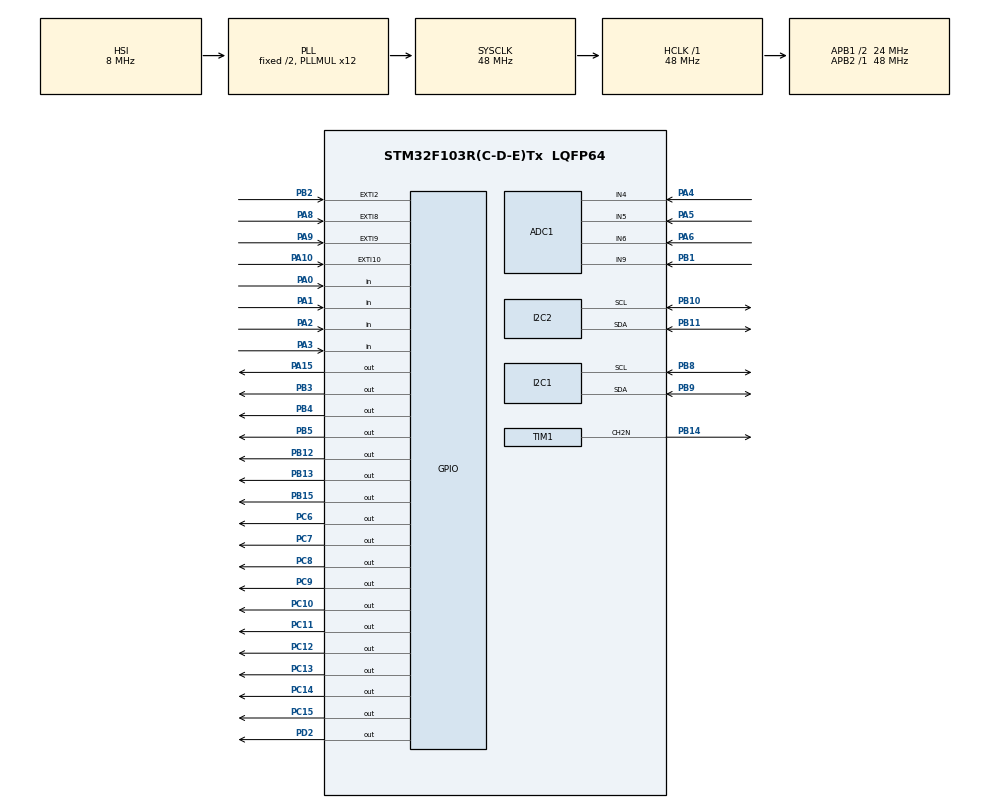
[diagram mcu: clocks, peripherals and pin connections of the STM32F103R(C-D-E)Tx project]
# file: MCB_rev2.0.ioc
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ADC1.AWD1HighThreshold=2000
ADC1.AWD1ITMode=ENABLE
ADC1.AWD1LowThreshold=100
ADC1.Channel-0\#ChannelRegularConversion=ADC_CHANNEL_4
ADC1.Channel-1\#ChannelRegularConversion=ADC_CHANNEL_5
ADC1.Channel-2\#ChannelRegularConversion=ADC_CHANNEL_6
ADC1.Channel-3\#ChannelRegularConversion=ADC_CHANNEL_9
ADC1.Channel-4\#ChannelRegularConversion=ADC_CHANNEL_TEMPSENSOR
ADC1.ContinuousConvMode=ENABLE
ADC1.EnableAnalogWatchDog=true
ADC1.NbrOfConversion=5
ADC1.NbrOfConversionFlag=1
ADC1.Rank-0\#ChannelRegularConversion=1
ADC1.Rank-1\#ChannelRegularConversion=2
ADC1.Rank-2\#ChannelRegularConversion=3
ADC1.Rank-3\#ChannelRegularConversion=4
ADC1.Rank-4\#ChannelRegularConversion=5
ADC1.SamplingTime-0\#ChannelRegularConversion=ADC_SAMPLETIME_239CYCLES_5
ADC1.SamplingTime-1\#ChannelRegularConversion=ADC_SAMPLETIME_239CYCLES_5
ADC1.SamplingTime-2\#ChannelRegularConversion=ADC_SAMPLETIME_239CYCLES_5
ADC1.SamplingTime-3\#ChannelRegularConversion=ADC_SAMPLETIME_239CYCLES_5
ADC1.SamplingTime-4\#ChannelRegularConversion=ADC_SAMPLETIME_239CYCLES_5
ADC1.WatchdogChannel=ADC_CHANNEL_6
ADC1.master=1
Dma.ADC1.0.Direction=DMA_PERIPH_TO_MEMORY
Dma.ADC1.0.Instance=DMA1_Channel1
Dma.ADC1.0.MemDataAlignment=DMA_MDATAALIGN_HALFWORD
Dma.ADC1.0.MemInc=DMA_MINC_ENABLE
Dma.ADC1.0.Mode=DMA_CIRCULAR
Dma.ADC1.0.PeriphDataAlignment=DMA_PDATAALIGN_HALFWORD
Dma.ADC1.0.PeriphInc=DMA_PINC_DISABLE
Dma.ADC1.0.Priority=DMA_PRIORITY_LOW
Dma.Request0=ADC1
Mcu.Family=STM32F1
Mcu.Name=STM32F103R(C-D-E)Tx
Mcu.Package=LQFP64
NVIC.DMA1_Channel1_IRQn=true\:0\:0\:false\:false\:true\:false\:true
NVIC.EXTI15_10_IRQn=true\:0\:0\:false\:false\:true\:true\:true
NVIC.EXTI2_IRQn=true\:0\:0\:false\:false\:true\:true\:true
NVIC.EXTI9_5_IRQn=true\:0\:0\:false\:false\:true\:true\:true
NVIC.PriorityGroup=NVIC_PRIORITYGROUP_4
NVIC.TIM1_CC_IRQn=true\:0\:0\:false\:false\:true\:true\:true
PA0-WKUP.GPIO_PuPd=GPIO_PULLUP
PA0-WKUP.Signal=GPIO_Input
PA1.GPIO_PuPd=GPIO_PULLUP
PA1.Signal=GPIO_Input
PA10.GPIO_PuPd=GPIO_PULLUP
PA10.Signal=GPXTI10
PA11.Signal=USB_DM
PA12.Signal=USB_DP
PA13.Mode=Serial_Wire
PA13.Signal=SYS_JTMS-SWDIO
PA14.Mode=Serial_Wire
PA14.Signal=SYS_JTCK-SWCLK
PA15.Signal=GPIO_Output
PA2.GPIO_PuPd=GPIO_PULLUP
PA2.Signal=GPIO_Input
PA3.GPIO_PuPd=GPIO_PULLUP
PA3.Signal=GPIO_Input
PA4.Signal=ADCx_IN4
PA5.Signal=ADCx_IN5
PA6.Signal=ADCx_IN6
PA8.GPIO_PuPd=GPIO_PULLUP
PA8.Signal=GPXTI8
PA9.GPIO_PuPd=GPIO_PULLUP
PA9.Signal=GPXTI9
PB1.Signal=ADCx_IN9
PB10.Mode=I2C
PB10.Signal=I2C2_SCL
PB11.Mode=I2C
PB11.Signal=I2C2_SDA
PB12.Signal=GPIO_Output
PB13.Signal=GPIO_Output
PB14.Mode=PWM Generation2 CH2N
PB14.Signal=TIM1_CH2N
PB15.Signal=GPIO_Output
PB2.GPIO_ModeDefaultEXTI=GPIO_MODE_IT_RISING_FALLING
PB2.Signal=GPXTI2
PB3.Signal=GPIO_Output
PB4.Signal=GPIO_Output
PB5.Signal=GPIO_Output
PB6.Signal=USART1_TX
PB7.Signal=USART1_RX
PB8.Mode=I2C
PB8.Signal=I2C1_SCL
PB9.Mode=I2C
PB9.Signal=I2C1_SDA
PC10.Signal=GPIO_Output
PC11.Signal=GPIO_Output
PC12.Signal=GPIO_Output
PC13-TAMPER-RTC.Signal=GPIO_Output
PC14-OSC32_IN.Signal=GPIO_Output
PC15-OSC32_OUT.Signal=GPIO_Output
PC6.Signal=GPIO_Output
PC7.Signal=GPIO_Output
PC8.Signal=GPIO_Output
PC9.Signal=GPIO_Output
PD2.Signal=GPIO_Output
ProjectManager.HeapSize=0x200
ProjectManager.StackSize=0x400
ProjectManager.TargetToolchain=MDK-ARM V5
RCC.ADCPresc=RCC_ADCPCLK2_DIV4
RCC.AHBFreq_Value=48000000
RCC.APB1CLKDivider=RCC_HCLK_DIV2
RCC.APB1Freq_Value=24000000
RCC.APB1TimFreq_Value=48000000
RCC.APB2Freq_Value=48000000
RCC.APB2TimFreq_Value=48000000
RCC.HCLKFreq_Value=48000000
RCC.PLLMUL=RCC_PLL_MUL12
RCC.PLLSourceVirtual=RCC_PLLSOURCE_HSI_DIV2
RCC.SYSCLKFreq_VALUE=48000000
RCC.SYSCLKSource=RCC_SYSCLKSOURCE_PLLCLK
RCC.USBFreq_Value=48000000
SH.ADCx_IN4.0=ADC1_IN4,IN4
SH.ADCx_IN5.0=ADC1_IN5,IN5
SH.ADCx_IN6.0=ADC1_IN6,IN6
SH.ADCx_IN9.0=ADC1_IN9,IN9
TIM1.Channel-PWM\ Generation2\ CH2N=TIM_CHANNEL_2
TIM1.Period=2000
TIM4.Channel-PWM\ Generation1\ No\ Output=TIM_CHANNEL_1
VP_ADC1_TempSens_Input.Mode=IN-TempSens
VP_TIM1_VS_ClockSourceINT.Mode=Internal
VP_TIM4_VS_no_output1.Mode=PWM Generation1 No Output
board=custom

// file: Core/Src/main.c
/* USER CODE BEGIN Header */
/* USER CODE END Header */
#include "main.h"

/* USER CODE BEGIN Includes */
#include "OneWire.h"
#include "i2c_slave.h"
#include "reg_map.h"
#include "sw_timers.h"
#include "switches.h"
#include <math.h>
#include <stdlib.h>

/* USER CODE END Includes */

/* USER CODE BEGIN PTD */
CONTROL_BOARD_REGS_t regInstPrev;
CONTROL_BOARD_REGS_t *pRegPrev = &regInstPrev;
CONTROL_BOARD_REGS_t *pReg;
extern map_t map;

CAPTURE_CHANNELS_t IC_ch[4] = { 0 };

typedef struct
{
    GPIO_TypeDef *port;
    uint16_t pin;
} PortPin;

static const PortPin portPinMap[] = { { GPIOA, GPIO_PIN_2 },  { GPIOA, GPIO_PIN_3 },
                                      { GPIOB, GPIO_PIN_3 },  { GPIOB, GPIO_PIN_5 },
                                      { GPIOB, GPIO_PIN_6 },  { GPIOB, GPIO_PIN_7 },
                                      { GPIOB, GPIO_PIN_13 }, { GPIOB, GPIO_PIN_15 },
                                      { GPIOD, GPIO_PIN_2 } };
/* USER CODE END PTD */

ADC_HandleTypeDef hadc1;
DMA_HandleTypeDef hdma_adc1;

I2C_HandleTypeDef hi2c1;
I2C_HandleTypeDef hi2c2;

TIM_HandleTypeDef htim1;
TIM_HandleTypeDef htim4;

/* USER CODE BEGIN PV */
uint16_t ADC_raw[10];
float ADC_Volt[10];
float ADC_data[10];
uint8_t adcChAmount = 5;
uint8_t off_request = 0;

uint8_t BoxOVT_LIM = 50; //*C
uint8_t BoxOVT_OFF = 60; //*C

uint8_t OVC_Lim = 12; // A
uint8_t OVC_Off = 15; // A

uint8_t OV_Lim = 33;  // V
uint8_t OVT_Off = 35; // V

uint8_t UV_Lim = 23;  // V
uint8_t UVT_Off = 21; // V

uint32_t fanThPeriod = 10;
uint32_t i2cTimeout = 100;

uint16_t pressTimeToOff = 5000; // ms
uint16_t BtsInResetHoldTime = 10000;
uint16_t BtsPowerOnDelayTime = 1000;
/* USER CODE END PV */

void SystemClock_Config(void);
static void MX_GPIO_Init(void);
static void MX_DMA_Init(void);
static void MX_ADC1_Init(void);
static void MX_I2C1_Init(void);
static void MX_I2C2_Init(void);
static void MX_TIM1_Init(void);
static void MX_TIM4_Init(void);
/* USER CODE BEGIN PFP */

void PaStatusGet();
void PaSet();
void PAControl(uint8_t addres);

void FanSet();
void FanGet();

void ADCproces();

void calculatePeriod(uint8_t in);
void Btn_Hndl(void);

SoftTimer FanSpeedUpdTim;

SoftTimer PaStatusUpdTim;
void PaStatusGet(void);

SoftTimer fanControlTim;
void fanControl(void);

SoftTimer FanOffTim;
void FanOff_Hndl(void);

SoftTimer PowerOffDelay_Tim;
void PowerOffDelay_Hndl(void);

SoftTimer BlinkTim;
void Blink_Hndl(void);

SoftTimer AdcTim;

SoftTimer ProtectionTim;
void Protection_Hndl(void);

SoftTimer blinkUpdTim;
void blinkUpd_Hndl(void);

SoftTimer captureWait;
void CaptureRdy_Hndl(void);

SoftTimer gpioControlTim;
void GpioControl(void);

SoftTimer antSwithTim;
void antSwith_Hndl(void);

SoftTimer antSwithUpdateTim;
void antSwithUpdate_Hndl(void);

void FanSet(void);

/* USER CODE END PFP */

/* USER CODE BEGIN 0 */

#define REG_CHANGED(REG) ON_CHANGE(&pRegPrev->REG, &pReg->REG)

uint8_t ON_CHANGE(uint8_t *regPrev, uint8_t *reg)
{
    uint8_t changeF = 0;
    if (*regPrev != *reg)
    {
        *regPrev = *reg;
        changeF = 1;
    }
    return changeF;
}

volatile uint8_t rx_data[16];
uint8_t Status = 0;
float Pavg_pad = 0;
double swr = 0;
uint16_t T = 0;

// Timer handlers ===========================================
void Blink_Hndl(void)
{ /*led_Toggle; */
}

void PowerOffDelay_Hndl(void)
{
    BIT_SET(pReg->CB.POW_OFF_FLAG, POW_OFF);
    CreateTimer(&BlinkTim, 1, 0, 1000, DONE, Blink_Hndl); // Stop blinking
}

void FanOff_Hndl(void)
{
    pReg->CB.FAN_PWM = 0;
    BIT_SET(pReg->CB.MAIN_CONTROL, FAN_AUTO); // If temperature is ok - switch off
}

void antSwith_Hndl(void)
{
    static int pos = 0;
    static int switchIdx = 0;
    static const SwitchEntity *sw = NULL;
    if (!sw) // First init
        sw = getSwitchEntityByIndex(switchIdx);

    if (REG_CHANGED(CB.SWITCH_ENTITY_IDX))
    {
        switchIdx = pReg->CB.SWITCH_ENTITY_IDX;
        sw = getSwitchEntityByIndex(switchIdx);
        pos = 0;
    }

    if (BIT_CHECK(pReg->CB.SWITCH_CONTROL, SWITCH_CONTROL_RUN))
    {
        SetAntennaSwitch(sw, pos);
        pos = (pos < sw->numConfigs - 1) ? pos + 1 : 0;
    }
    else if (BIT_CHECK(pReg->CB.SWITCH_CONTROL, SWITCH_CONTROL_MANUAL))
    {
        uint8_t manualPos = pReg->CB.SWITCH_MANUAL_POS;
        SetAntennaSwitch(sw, manualPos);
    }

    led_Toggle;
}

void antSwithUpdate_Hndl(void)
{
    if (REG_CHANGED(CB.SWITCH_DELAY_MS_L) || REG_CHANGED(CB.SWITCH_DELAY_MS_H))
    {
        uint8_t periodH = pReg->CB.SWITCH_DELAY_MS_H;
        uint8_t periodL = pReg->CB.SWITCH_DELAY_MS_L;
        uint16_t period = (periodH << 8) | periodL;
        CreateTimer(&antSwithTim, 1, 0, period, ACTIVE, antSwith_Hndl);
    }
}

//TODO:
// Add pause, run, stop, step pins (step active in pause mode). Stop is more prioritive then pause
// Add uart interface
// Add LCD with statuses
// Add control by buttons
// Add control by FPV joystic
// Add USB CDC interface

/* USER CODE END 0 */

int main(void)
{
  /* USER CODE BEGIN 1 */

    SoftTimersInit();

  /* USER CODE END 1 */

  /* MCU Configuration--------------------------------------------------------*/

  /* Reset of all peripherals, Initializes the Flash interface and the Systick. */
  HAL_Init();

  /* Configure the system clock */
  SystemClock_Config();

  /* Initialize all configured peripherals */
  MX_GPIO_Init();
  MX_DMA_Init();
  MX_ADC1_Init();
  MX_I2C1_Init();
  MX_I2C2_Init();
  MX_TIM1_Init();
  MX_TIM4_Init();
  /* USER CODE BEGIN 2 */

    hadc1.Instance->CR2 |= ADC_CR2_CAL; // adc calibrate
    HAL_ADC_Start_DMA(&hadc1, (uint32_t *)&ADC_raw, adcChAmount);

    I2C1_Slave_init(); // Also clears the register map
    /////////////////////////////////////////////////

    // init reg map
    pReg = &map.Reg;

    pReg->CB.TEMPERATURE_TH = 36;
    pReg->CB.MIN_PWM = 60;
    pReg->CB.FAN_PWM = 250;

    // BIT_CLEAR(pReg->CB.MAIN_CONTROL, FAN_AUTO);
    // FanSet();
    // fan_on;

    ADCproces();
    HAL_Delay(500);

    pReg->CB.SWITCH_DELAY_MS_L = 0;
    pReg->CB.SWITCH_DELAY_MS_H = 2; // 512ms default switch time
    BIT_SET(pReg->CB.SWITCH_CONTROL, SWITCH_CONTROL_RUN);

    // Pow off in case of invalid ADC values, or normal ON
    // Protection_Hndl();

    //	Timer,	Rewrite, time, period, 	state, handler
    //	CreateTimer(&FanSpeedUpdTim, 0, 0, 		2000, 	ACTIVE, FanGet);
    // CreateTimer(&PaStatusUpdTim, 0, 100, 100, ACTIVE, PaStatusGet);
    // CreateTimer(&BlinkTim, 1, 150, 1000, ACTIVE, Blink_Hndl);
    // CreateTimer(&blinkUpdTim, 0, 0, 100, ACTIVE, blinkUpd_Hndl);
    //  CreateTimer(&AdcTim, 1, 0, 500, ACTIVE, ADCproces);
    //  CreateTimer(&ProtectionTim, 0, 0, 50, ACTIVE, Protection_Hndl);

    // If temperature is ok - switch off
    // CreateTimer(&fanControlTim, 0, 200, 200, ACTIVE, fanControl);

    // After start clean the dust and stop till temperature rise!
    // CreateTimer(&FanOffTim, 0, 2000, 0, ACTIVE, FanOff_Hndl);

    // Update output val of GPIO
    CreateTimer(&gpioControlTim, 0, 0, 10, ACTIVE, GpioControl);
    CreateTimer(&antSwithTim, 1, 150, 1000, ACTIVE, antSwith_Hndl);
    CreateTimer(&antSwithUpdateTim, 0, 150, 1, ACTIVE, antSwithUpdate_Hndl);

  /* USER CODE END 2 */

  /* Infinite loop */
  /* USER CODE BEGIN WHILE */

    // int scanRes = 1;
    // for (int i = 0; i < 127; i++)
    // {
    //     scanRes = HAL_I2C_Master_Receive(&hi2c2, i << 1, (uint8_t
    //     *)&rx_data[0], 1, i2cTimeout); if (scanRes == 0)
    //         validAddr = i;
    // }

    while (1)
    {
    /* USER CODE END WHILE */

    /* USER CODE BEGIN 3 */
        ProcessTimer();

        // PaSet();
        // Btn_Hndl();
    }
  /* USER CODE END 3 */
}

void SystemClock_Config(void)
{
  RCC_OscInitTypeDef RCC_OscInitStruct = {0};
  RCC_ClkInitTypeDef RCC_ClkInitStruct = {0};
  RCC_PeriphCLKInitTypeDef PeriphClkInit = {0};

  /** Initializes the RCC Oscillators according to the specified parameters
  * in the RCC_OscInitTypeDef structure.
  */
  RCC_OscInitStruct.OscillatorType = RCC_OSCILLATORTYPE_HSI;
  RCC_OscInitStruct.HSIState = RCC_HSI_ON;
  RCC_OscInitStruct.HSICalibrationValue = RCC_HSICALIBRATION_DEFAULT;
  RCC_OscInitStruct.PLL.PLLState = RCC_PLL_ON;
  RCC_OscInitStruct.PLL.PLLSource = RCC_PLLSOURCE_HSI_DIV2;
  RCC_OscInitStruct.PLL.PLLMUL = RCC_PLL_MUL12;
  if (HAL_RCC_OscConfig(&RCC_OscInitStruct) != HAL_OK)
  {
    Error_Handler();
  }
  /** Initializes the CPU, AHB and APB buses clocks
  */
  RCC_ClkInitStruct.ClockType = RCC_CLOCKTYPE_HCLK|RCC_CLOCKTYPE_SYSCLK
                              |RCC_CLOCKTYPE_PCLK1|RCC_CLOCKTYPE_PCLK2;
  RCC_ClkInitStruct.SYSCLKSource = RCC_SYSCLKSOURCE_PLLCLK;
  RCC_ClkInitStruct.AHBCLKDivider = RCC_SYSCLK_DIV1;
  RCC_ClkInitStruct.APB1CLKDivider = RCC_HCLK_DIV2;
  RCC_ClkInitStruct.APB2CLKDivider = RCC_HCLK_DIV1;

  if (HAL_RCC_ClockConfig(&RCC_ClkInitStruct, FLASH_LATENCY_1) != HAL_OK)
  {
    Error_Handler();
  }
  PeriphClkInit.PeriphClockSelection = RCC_PERIPHCLK_ADC;
  PeriphClkInit.AdcClockSelection = RCC_ADCPCLK2_DIV4;
  if (HAL_RCCEx_PeriphCLKConfig(&PeriphClkInit) != HAL_OK)
  {
    Error_Handler();
  }
}

static void MX_ADC1_Init(void)
{

  ADC_AnalogWDGConfTypeDef AnalogWDGConfig = {0};
  ADC_ChannelConfTypeDef sConfig = {0};

  /** Common config
  */
  hadc1.Instance = ADC1;
  hadc1.Init.ScanConvMode = ADC_SCAN_ENABLE;
  hadc1.Init.ContinuousConvMode = ENABLE;
  hadc1.Init.DiscontinuousConvMode = DISABLE;
  hadc1.Init.ExternalTrigConv = ADC_SOFTWARE_START;
  hadc1.Init.DataAlign = ADC_DATAALIGN_RIGHT;
  hadc1.Init.NbrOfConversion = 5;
  if (HAL_ADC_Init(&hadc1) != HAL_OK)
  {
    Error_Handler();
  }
  /** Configure Analog WatchDog 1
  */
  AnalogWDGConfig.WatchdogMode = ADC_ANALOGWATCHDOG_SINGLE_REG;
  AnalogWDGConfig.HighThreshold = 2000;
  AnalogWDGConfig.LowThreshold = 100;
  AnalogWDGConfig.Channel = ADC_CHANNEL_6;
  AnalogWDGConfig.ITMode = ENABLE;
  if (HAL_ADC_AnalogWDGConfig(&hadc1, &AnalogWDGConfig) != HAL_OK)
  {
    Error_Handler();
  }
  /** Configure Regular Channel
  */
  sConfig.Channel = ADC_CHANNEL_4;
  sConfig.Rank = ADC_REGULAR_RANK_1;
  sConfig.SamplingTime = ADC_SAMPLETIME_239CYCLES_5;
  if (HAL_ADC_ConfigChannel(&hadc1, &sConfig) != HAL_OK)
  {
    Error_Handler();
  }
  /** Configure Regular Channel
  */
  sConfig.Channel = ADC_CHANNEL_5;
  sConfig.Rank = ADC_REGULAR_RANK_2;
  if (HAL_ADC_ConfigChannel(&hadc1, &sConfig) != HAL_OK)
  {
    Error_Handler();
  }
  /** Configure Regular Channel
  */
  sConfig.Channel = ADC_CHANNEL_6;
  sConfig.Rank = ADC_REGULAR_RANK_3;
  if (HAL_ADC_ConfigChannel(&hadc1, &sConfig) != HAL_OK)
  {
    Error_Handler();
  }
  /** Configure Regular Channel
  */
  sConfig.Channel = ADC_CHANNEL_9;
  sConfig.Rank = ADC_REGULAR_RANK_4;
  if (HAL_ADC_ConfigChannel(&hadc1, &sConfig) != HAL_OK)
  {
    Error_Handler();
  }
  /** Configure Regular Channel
  */
  sConfig.Channel = ADC_CHANNEL_TEMPSENSOR;
  sConfig.Rank = ADC_REGULAR_RANK_5;
  if (HAL_ADC_ConfigChannel(&hadc1, &sConfig) != HAL_OK)
  {
    Error_Handler();
  }

}

static void MX_I2C1_Init(void)
{

  hi2c1.Instance = I2C1;
  hi2c1.Init.ClockSpeed = 100000;
  hi2c1.Init.DutyCycle = I2C_DUTYCYCLE_2;
  hi2c1.Init.OwnAddress1 = 0;
  hi2c1.Init.AddressingMode = I2C_ADDRESSINGMODE_7BIT;
  hi2c1.Init.DualAddressMode = I2C_DUALADDRESS_DISABLE;
  hi2c1.Init.OwnAddress2 = 0;
  hi2c1.Init.GeneralCallMode = I2C_GENERALCALL_DISABLE;
  hi2c1.Init.NoStretchMode = I2C_NOSTRETCH_DISABLE;
  if (HAL_I2C_Init(&hi2c1) != HAL_OK)
  {
    Error_Handler();
  }

}

static void MX_I2C2_Init(void)
{

  hi2c2.Instance = I2C2;
  hi2c2.Init.ClockSpeed = 100000;
  hi2c2.Init.DutyCycle = I2C_DUTYCYCLE_2;
  hi2c2.Init.OwnAddress1 = 0;
  hi2c2.Init.AddressingMode = I2C_ADDRESSINGMODE_7BIT;
  hi2c2.Init.DualAddressMode = I2C_DUALADDRESS_DISABLE;
  hi2c2.Init.OwnAddress2 = 0;
  hi2c2.Init.GeneralCallMode = I2C_GENERALCALL_DISABLE;
  hi2c2.Init.NoStretchMode = I2C_NOSTRETCH_DISABLE;
  if (HAL_I2C_Init(&hi2c2) != HAL_OK)
  {
    Error_Handler();
  }

}

static void MX_TIM1_Init(void)
{

  TIM_ClockConfigTypeDef sClockSourceConfig = {0};
  TIM_MasterConfigTypeDef sMasterConfig = {0};
  TIM_OC_InitTypeDef sConfigOC = {0};
  TIM_BreakDeadTimeConfigTypeDef sBreakDeadTimeConfig = {0};

  /* USER CODE BEGIN TIM1_Init 1 */

    // TIM_IC_InitTypeDef sIcConfig = {0};

  /* USER CODE END TIM1_Init 1 */
  htim1.Instance = TIM1;
  htim1.Init.Prescaler = 0;
  htim1.Init.CounterMode = TIM_COUNTERMODE_UP;
  htim1.Init.Period = 2000;
  htim1.Init.ClockDivision = TIM_CLOCKDIVISION_DIV1;
  htim1.Init.RepetitionCounter = 0;
  htim1.Init.AutoReloadPreload = TIM_AUTORELOAD_PRELOAD_DISABLE;
  if (HAL_TIM_Base_Init(&htim1) != HAL_OK)
  {
    Error_Handler();
  }
  sClockSourceConfig.ClockSource = TIM_CLOCKSOURCE_INTERNAL;
  if (HAL_TIM_ConfigClockSource(&htim1, &sClockSourceConfig) != HAL_OK)
  {
    Error_Handler();
  }
  if (HAL_TIM_PWM_Init(&htim1) != HAL_OK)
  {
    Error_Handler();
  }
  sMasterConfig.MasterOutputTrigger = TIM_TRGO_RESET;
  sMasterConfig.MasterSlaveMode = TIM_MASTERSLAVEMODE_DISABLE;
  if (HAL_TIMEx_MasterConfigSynchronization(&htim1, &sMasterConfig) != HAL_OK)
  {
    Error_Handler();
  }
  sConfigOC.OCMode = TIM_OCMODE_PWM1;
  sConfigOC.Pulse = 0;
  sConfigOC.OCPolarity = TIM_OCPOLARITY_HIGH;
  sConfigOC.OCNPolarity = TIM_OCNPOLARITY_HIGH;
  sConfigOC.OCFastMode = TIM_OCFAST_DISABLE;
  sConfigOC.OCIdleState = TIM_OCIDLESTATE_RESET;
  sConfigOC.OCNIdleState = TIM_OCNIDLESTATE_RESET;
  if (HAL_TIM_PWM_ConfigChannel(&htim1, &sConfigOC, TIM_CHANNEL_2) != HAL_OK)
  {
    Error_Handler();
  }
  sBreakDeadTimeConfig.OffStateRunMode = TIM_OSSR_DISABLE;
  sBreakDeadTimeConfig.OffStateIDLEMode = TIM_OSSI_DISABLE;
  sBreakDeadTimeConfig.LockLevel = TIM_LOCKLEVEL_OFF;
  sBreakDeadTimeConfig.DeadTime = 0;
  sBreakDeadTimeConfig.BreakState = TIM_BREAK_DISABLE;
  sBreakDeadTimeConfig.BreakPolarity = TIM_BREAKPOLARITY_HIGH;
  sBreakDeadTimeConfig.AutomaticOutput = TIM_AUTOMATICOUTPUT_DISABLE;
  if (HAL_TIMEx_ConfigBreakDeadTime(&htim1, &sBreakDeadTimeConfig) != HAL_OK)
  {
    Error_Handler();
  }
  HAL_TIM_MspPostInit(&htim1);

}

static void MX_TIM4_Init(void)
{

  TIM_MasterConfigTypeDef sMasterConfig = {0};
  TIM_OC_InitTypeDef sConfigOC = {0};

  htim4.Instance = TIM4;
  htim4.Init.Prescaler = 0;
  htim4.Init.CounterMode = TIM_COUNTERMODE_UP;
  htim4.Init.Period = 65535;
  htim4.Init.ClockDivision = TIM_CLOCKDIVISION_DIV1;
  htim4.Init.AutoReloadPreload = TIM_AUTORELOAD_PRELOAD_DISABLE;
  if (HAL_TIM_PWM_Init(&htim4) != HAL_OK)
  {
    Error_Handler();
  }
  sMasterConfig.MasterOutputTrigger = TIM_TRGO_RESET;
  sMasterConfig.MasterSlaveMode = TIM_MASTERSLAVEMODE_DISABLE;
  if (HAL_TIMEx_MasterConfigSynchronization(&htim4, &sMasterConfig) != HAL_OK)
  {
    Error_Handler();
  }
  sConfigOC.OCMode = TIM_OCMODE_PWM1;
  sConfigOC.Pulse = 0;
  sConfigOC.OCPolarity = TIM_OCPOLARITY_HIGH;
  sConfigOC.OCFastMode = TIM_OCFAST_DISABLE;
  if (HAL_TIM_PWM_ConfigChannel(&htim4, &sConfigOC, TIM_CHANNEL_1) != HAL_OK)
  {
    Error_Handler();
  }

}

static void MX_DMA_Init(void)
{

  /* DMA controller clock enable */
  __HAL_RCC_DMA1_CLK_ENABLE();

  /* DMA interrupt init */
  /* DMA1_Channel1_IRQn interrupt configuration */
  HAL_NVIC_SetPriority(DMA1_Channel1_IRQn, 0, 0);
  HAL_NVIC_EnableIRQ(DMA1_Channel1_IRQn);

}

static void MX_GPIO_Init(void)
{
  GPIO_InitTypeDef GPIO_InitStruct = {0};

  /* GPIO Ports Clock Enable */
  __HAL_RCC_GPIOC_CLK_ENABLE();
  __HAL_RCC_GPIOA_CLK_ENABLE();
  __HAL_RCC_GPIOB_CLK_ENABLE();
  __HAL_RCC_GPIOD_CLK_ENABLE();

  /*Configure GPIO pin Output Level */
  HAL_GPIO_WritePin(GPIOC, GPIO_PIN_13|GPIO_PIN_14|GPIO_PIN_15|GPIO_PIN_6
                          |GPIO_PIN_7|GPIO_PIN_8|GPIO_PIN_9|GPIO_PIN_10
                          |GPIO_PIN_11|GPIO_PIN_12, GPIO_PIN_RESET);

  /*Configure GPIO pin Output Level */
  HAL_GPIO_WritePin(GPIOB, GPIO_PIN_12|GPIO_PIN_13|GPIO_PIN_15|GPIO_PIN_3
                          |GPIO_PIN_4|GPIO_PIN_5, GPIO_PIN_RESET);

  /*Configure GPIO pin Output Level */
  HAL_GPIO_WritePin(GPIOA, GPIO_PIN_15, GPIO_PIN_RESET);

  /*Configure GPIO pin Output Level */
  HAL_GPIO_WritePin(GPIOD, GPIO_PIN_2, GPIO_PIN_RESET);

  /*Configure GPIO pins : PC13 PC14 PC15 PC6
                           PC7 PC8 PC9 PC10
                           PC11 PC12 */
  GPIO_InitStruct.Pin = GPIO_PIN_13|GPIO_PIN_14|GPIO_PIN_15|GPIO_PIN_6
                          |GPIO_PIN_7|GPIO_PIN_8|GPIO_PIN_9|GPIO_PIN_10
                          |GPIO_PIN_11|GPIO_PIN_12;
  GPIO_InitStruct.Mode = GPIO_MODE_OUTPUT_PP;
  GPIO_InitStruct.Pull = GPIO_NOPULL;
  GPIO_InitStruct.Speed = GPIO_SPEED_FREQ_LOW;
  HAL_GPIO_Init(GPIOC, &GPIO_InitStruct);

  /*Configure GPIO pins : PA0 PA1 PA2 PA3 */
  GPIO_InitStruct.Pin = GPIO_PIN_0|GPIO_PIN_1|GPIO_PIN_2|GPIO_PIN_3;
  GPIO_InitStruct.Mode = GPIO_MODE_INPUT;
  GPIO_InitStruct.Pull = GPIO_PULLUP;
  HAL_GPIO_Init(GPIOA, &GPIO_InitStruct);

  /*Configure GPIO pin : PB2 */
  GPIO_InitStruct.Pin = GPIO_PIN_2;
  GPIO_InitStruct.Mode = GPIO_MODE_IT_RISING_FALLING;
  GPIO_InitStruct.Pull = GPIO_NOPULL;
  HAL_GPIO_Init(GPIOB, &GPIO_InitStruct);

  /*Configure GPIO pins : PB12 PB13 PB15 PB3
                           PB4 PB5 */
  GPIO_InitStruct.Pin = GPIO_PIN_12|GPIO_PIN_13|GPIO_PIN_15|GPIO_PIN_3
                          |GPIO_PIN_4|GPIO_PIN_5;
  GPIO_InitStruct.Mode = GPIO_MODE_OUTPUT_PP;
  GPIO_InitStruct.Pull = GPIO_NOPULL;
  GPIO_InitStruct.Speed = GPIO_SPEED_FREQ_LOW;
  HAL_GPIO_Init(GPIOB, &GPIO_InitStruct);

  /*Configure GPIO pins : PA8 PA9 PA10 */
  GPIO_InitStruct.Pin = GPIO_PIN_8|GPIO_PIN_9|GPIO_PIN_10;
  GPIO_InitStruct.Mode = GPIO_MODE_IT_RISING;
  GPIO_InitStruct.Pull = GPIO_PULLUP;
  HAL_GPIO_Init(GPIOA, &GPIO_InitStruct);

  /*Configure GPIO pin : PA15 */
  GPIO_InitStruct.Pin = GPIO_PIN_15;
  GPIO_InitStruct.Mode = GPIO_MODE_OUTPUT_PP;
  GPIO_InitStruct.Pull = GPIO_NOPULL;
  GPIO_InitStruct.Speed = GPIO_SPEED_FREQ_LOW;
  HAL_GPIO_Init(GPIOA, &GPIO_InitStruct);

  /*Configure GPIO pin : PD2 */
  GPIO_InitStruct.Pin = GPIO_PIN_2;
  GPIO_InitStruct.Mode = GPIO_MODE_OUTPUT_PP;
  GPIO_InitStruct.Pull = GPIO_NOPULL;
  GPIO_InitStruct.Speed = GPIO_SPEED_FREQ_LOW;
  HAL_GPIO_Init(GPIOD, &GPIO_InitStruct);

  /*Configure GPIO pin : PB6 */
  GPIO_InitStruct.Pin = GPIO_PIN_6;
  GPIO_InitStruct.Mode = GPIO_MODE_AF_PP;
  GPIO_InitStruct.Speed = GPIO_SPEED_FREQ_HIGH;
  HAL_GPIO_Init(GPIOB, &GPIO_InitStruct);

  /*Configure GPIO pin : PB7 */
  GPIO_InitStruct.Pin = GPIO_PIN_7;
  GPIO_InitStruct.Mode = GPIO_MODE_INPUT;
  GPIO_InitStruct.Pull = GPIO_NOPULL;
  HAL_GPIO_Init(GPIOB, &GPIO_InitStruct);

  /*Configure peripheral I/O remapping */
  __HAL_AFIO_REMAP_USART1_ENABLE();

  /* EXTI interrupt init*/
  HAL_NVIC_SetPriority(EXTI2_IRQn, 0, 0);
  HAL_NVIC_EnableIRQ(EXTI2_IRQn);

  HAL_NVIC_SetPriority(EXTI9_5_IRQn, 0, 0);
  HAL_NVIC_EnableIRQ(EXTI9_5_IRQn);

  HAL_NVIC_SetPriority(EXTI15_10_IRQn, 0, 0);
  HAL_NVIC_EnableIRQ(EXTI15_10_IRQn);

}

/* USER CODE BEGIN 4 */
void Protection_Hndl()
{
    // 1-st stage - Set alarm flags
    (pReg->CB.CURRENT_I > OVC_Lim) ? BIT_SET(pReg->CB.ALARM_1_FLAG, OVC)
                                   : BIT_CLEAR(pReg->CB.ALARM_1_FLAG, OVC);
    (pReg->CB.VOLTAGE_SUPPLY_I > OV_Lim) ? BIT_SET(pReg->CB.ALARM_1_FLAG, OVT)
                                         : BIT_CLEAR(pReg->CB.ALARM_1_FLAG, OVT);
    (pReg->CB.VOLTAGE_SUPPLY_I < UV_Lim) ? BIT_SET(pReg->CB.ALARM_1_FLAG, UVT)
                                         : BIT_CLEAR(pReg->CB.ALARM_1_FLAG, UVT);
    (pReg->CB.PEAK_TEMPERATURE > BoxOVT_LIM)
        ? BIT_SET(pReg->CB.OVER_TEMP_FLAG, BOX_OVT)
        : BIT_CLEAR(pReg->CB.OVER_TEMP_FLAG, BOX_OVT); // 0-bit = boxTemp

    // 2-nd stage - Emergency off (If Enabled)
    if (pReg->CB.PROTECTION == 0xFF)
    {
        if ((pReg->CB.CURRENT_I > OVC_Off) || (pReg->CB.VOLTAGE_SUPPLY_I > OVT_Off) ||
            (pReg->CB.VOLTAGE_SUPPLY_I < UVT_Off) || (pReg->CB.PEAK_TEMPERATURE > BoxOVT_OFF))
        {
            // Sequentialy off all systems
            if (BIT_CHECK(pReg->CB.MAIN_CONTROL, MAIN_POW_28_EN))
            {
                BIT_CLEAR(pReg->CB.MAIN_CONTROL, MAIN_POW_28_EN);
            }
            else if (BIT_CHECK(pReg->CB.MAIN_CONTROL, BTS_3_EN))
            {
                BIT_CLEAR(pReg->CB.MAIN_CONTROL, BTS_3_EN);
            }
            else if (BIT_CHECK(pReg->CB.MAIN_CONTROL, BTS_2_EN))
            {
                BIT_CLEAR(pReg->CB.MAIN_CONTROL, BTS_2_EN);
            }
            else if (BIT_CHECK(pReg->CB.MAIN_CONTROL, BTS_1_EN)) // Total off
            {
                BIT_CLEAR(pReg->CB.MAIN_CONTROL, BTS_1_EN);
                BIT_CLEAR(pReg->CB.MAIN_CONTROL, SUPPLY_EN);
            }
        }
    }
}

void blinkUpd_Hndl(void)
{
    if (((pReg->CB.TEMP_BTS_1 == 0) || (pReg->CB.TEMP_BTS_2 == 0) || (pReg->CB.TEMP_BTS_3 == 0)) &&
        (BIT_CHECK(pReg->CB.POW_OFF_FLAG, POW_OFF) == 0))
    {
        if (GetTimerState(&BlinkTim) != ACTIVE)
        {
            CreateTimer(&BlinkTim, 0, 0, 1000, ACTIVE, Blink_Hndl); // Set if DONE
        }
    }
    else // All BTS ready and send their temperatures
    {
        if (BIT_CHECK(pReg->CB.POW_OFF_FLAG, POW_OFF) == 0) // Not in powerOff proc
        {
            CreateTimer(&BlinkTim, 1, 0, 1000, DONE, Blink_Hndl); // Stop blinking
            led_on;
        }
        else // Pow off proc, but min 1 of bts is not active and Timer is active?
             // so stop timer and blink from PowOffControl
        {
            CreateTimer(&BlinkTim, 1, 0, 1000, DONE, Blink_Hndl); // Stop blinking
        }
    }
}

/*
void PaStatusGet() {
  uint8_t packSz = 16; // Get 16 regs from PA
  uint8_t paFailCnt = 0;

  foreach_pa() {
    uint8_t res = 1;
    memset(rx_data, 0, packSz);
    res = HAL_I2C_Master_Transmit(&hi2c2, (pReg->PA[i].INST_I2C_ADR) << 1,
                                  (uint8_t *)&rx_data[0], 1,
                                  i2cTimeout); // Write 0
    res += HAL_I2C_Master_Receive(&hi2c2, (pReg->PA[i].INST_I2C_ADR) << 1,
                                  (uint8_t *)&rx_data[0], packSz, i2cTimeout);
    if (res == 0) {
      memcpy((void *)&pReg->PA[i], rx_data, packSz - 1); // Cpy 15 regs of PA

      if (pReg->PA[i].TEMPERATURE >
          pReg->PA[i].OVER_TEMP_SET) // TODO convert temp
        BIT_SET(pReg->CB.OVER_TEMP_FLAG,
                (i + 1)); // 0-bit = boxTemp, others - PA
      else
        BIT_CLEAR(pReg->CB.OVER_TEMP_FLAG,
                  (i + 1)); // 0-bit = boxTemp, others - PA

      pReg->PA[i].POWER_I = (uint8_t)Pavg_pad;
      pReg->PA[i].POWER_F =
          (uint8_t)((Pavg_pad - (float)pReg->PA[i].POWER_I) * 100);

      pReg->PA[i].SWR_I = (uint8_t)swr;
      pReg->PA[i].SWR_F = (uint8_t)((swr - (float)pReg->PA[i].SWR_I) * 100);
    } else // Slave not responding
    {
      pReg->PA[i].STATUS = 0;
    }
  }

  // Crutch to make PAs work
  foreach_pa() {
    if (pReg->PA[i].STATUS == 0)
      paFailCnt++;
  }

  if (paFailCnt == PA_AMOUNT) // All failed, so this is i2c bus problem
  {
    HAL_I2C_DeInit(&hi2c2);
    MX_I2C2_Init();
  }
}
*/
void PaSet()
{
    uint8_t reg;
    foreach_pa()
    {
        if (REG_CHANGED(PA[i].SET_TDD))
        {
            reg = pReg->PA[i].SET_TDD;
            switch (i)
            {
            case 0:
            {
                BIT_CHECK(reg, TDD_EN) ? TDD1_on : TDD1_off;
            }
            break;
            case 1:
            {
                BIT_CHECK(reg, TDD_EN) ? TDD2_on : TDD2_off;
            }
            break;
            case 2:
            {
                BIT_CHECK(reg, TDD_EN) ? TDD3_on : TDD3_off;
            }
            break;
            case 3:
            {
                BIT_CHECK(reg, TDD_EN) ? TDD4_on : TDD4_off;
            }
            break;
            case 4:
            {
                BIT_CHECK(reg, TDD_EN) ? TDD5_on : TDD5_off;
            }
            break;
            case 5:
            {
                BIT_CHECK(reg, TDD_EN) ? TDD6_on : TDD6_off;
            }
            break;

            default:
                break;
            }
        } // SET_TDD

        if (REG_CHANGED(PA[i].SHUTDOWN))
        {
            reg = pReg->PA[i].SHUTDOWN;
            switch (i)
            {
            case 0:
            {
                BIT_CHECK(reg, PA_POW_5_EN) ? PA1_Shutdown_on : PA1_Shutdown_off;
                BIT_CHECK(reg, PA_POW_28_EN) ? PA1_power_on : PA1_power_off;
            }
            break;
            case 1:
            {
                BIT_CHECK(reg, PA_POW_5_EN) ? PA2_Shutdown_on : PA2_Shutdown_off;
                BIT_CHECK(reg, PA_POW_28_EN) ? PA2_power_on : PA2_power_off;
            }
            break;
            case 2:
            {
                BIT_CHECK(reg, PA_POW_5_EN) ? PA3_Shutdown_on : PA3_Shutdown_off;
                BIT_CHECK(reg, PA_POW_28_EN) ? PA3_power_on : PA3_power_off;
            }
            break;
            case 3:
            {
                BIT_CHECK(reg, PA_POW_5_EN) ? PA4_Shutdown_on : PA4_Shutdown_off;
                BIT_CHECK(reg, PA_POW_28_EN) ? PA4_power_on : PA4_power_off;
            }
            break;
            case 4:
            {
                BIT_CHECK(reg, PA_POW_5_EN) ? PA5_Shutdown_on : PA5_Shutdown_off;
                BIT_CHECK(reg, PA_POW_28_EN) ? PA5_power_on : PA5_power_off;
            }
            break;
            case 5:
            {
                BIT_CHECK(reg, PA_POW_5_EN) ? PA6_Shutdown_on : PA6_Shutdown_off;
                BIT_CHECK(reg, PA_POW_28_EN) ? PA6_power_on : PA6_power_off;
            }
            break;

            default:
                break;
            }
        } // SHUTDOWN
    }
}

void GpioControl()
{
    uint8_t reg;
    foreach_io()
    {
        if (REG_CHANGED(CB.IO.Idx[i]))
        {
            reg = pReg->CB.IO.Idx[i];
            if (i < sizeof(portPinMap) / sizeof(portPinMap[0]))
            {
                PortPin pp = portPinMap[i];
                BIT_CHECK(reg, GPIO_VAL)
                ? HAL_GPIO_WritePin(pp.port, pp.pin, GPIO_PIN_SET)
                : HAL_GPIO_WritePin(pp.port, pp.pin, GPIO_PIN_RESET);
            }
        }
    }
}

void ADCproces()
{
    for (int i = 0; i <= adcChAmount; i++)
        ADC_Volt[i] = ADC_raw[i] * (3.3 / 4095);

    ADC_data[0] = ADC_Volt[0] / 0.085; // 28V
    ADC_data[1] = ADC_Volt[1] * 11.9;  /// 0.12;		//Vin
    ADC_data[2] = ADC_Volt[2] * 2.35;  /// 0.05;		//Iin
    ADC_data[3] = ADC_Volt[3] / 0.085; // 12v

    ADC_data[4] = ((float)ADC_raw[4]) / 4095 * 3300; // MCU Temp
    ADC_data[4] = (((ADC_data[4] - 760.0) / 2.5) + 25) / 10;

    pReg->CB.VOLTAGE_28V_I = (uint8_t)ADC_data[0];
    pReg->CB.VOLTAGE_28V_F = (ADC_data[0] - pReg->CB.VOLTAGE_28V_I) * 100;

    pReg->CB.VOLTAGE_SUPPLY_I = (uint8_t)ADC_data[1];
    pReg->CB.VOLTAGE_SUPPLY_F = (ADC_data[1] - pReg->CB.VOLTAGE_SUPPLY_I) * 100;

    pReg->CB.CURRENT_I = (uint8_t)ADC_data[2];
    pReg->CB.CURRENT_F = (ADC_data[2] - pReg->CB.CURRENT_I) * 100;

    pReg->CB.VOLTAGE_12V_I = (uint8_t)ADC_data[3];
    pReg->CB.VOLTAGE_12V_F = (ADC_data[3] - pReg->CB.VOLTAGE_12V_I) * 100;

    // Not used, change to MAX_TEMPERATURE
    //	pReg->CB.PEAK_TEMPERATURE = (uint8_t) ADC_data[4];
    //	pReg->CB.TEMPERATURE_F = (ADC_data[4] - pReg->CB.PEAK_TEMPERATURE)*100;
}

uint8_t GetMaxTemp()
{
    int16_t maxTemp = -100;
    foreach_pa()
    {
        if ((pReg->PA[i].STATUS != 0) && (pReg->PA[i].POWER_mW > 0) && (pReg->PA[i].SWR > 0) &&
            (BIT_CHECK(pReg->PA[i].SHUTDOWN, PA_POW_5_EN)))
        {
            maxTemp = MAX(maxTemp, pReg->PA[i].TEMPERATURE); // TODO convert
        }
    }
    maxTemp = MAX(maxTemp, pReg->CB.TEMP_BTS_1);
    maxTemp = MAX(maxTemp, pReg->CB.TEMP_BTS_2);
    maxTemp = MAX(maxTemp, pReg->CB.TEMP_BTS_3);

    pReg->CB.PEAK_TEMPERATURE = (int8_t)maxTemp;
    return maxTemp;
}

void FanSet()
{
    uint16_t pwmVal;
    uint8_t reg;
    uint8_t scaleCoef = 0;
    uint8_t maxPwm = 255;
    uint8_t temp = GetMaxTemp();

    if (pReg->CB.TEMPERATURE_TH > BoxOVT_LIM)
    {
        pReg->CB.TEMPERATURE_TH = BoxOVT_LIM - 1;
    } // Protection
    scaleCoef = (maxPwm - pReg->CB.MIN_PWM) / (BoxOVT_LIM - pReg->CB.TEMPERATURE_TH);

    if (temp > pReg->CB.TEMPERATURE_TH)
    {
        pwmVal = pReg->CB.MIN_PWM + (temp - pReg->CB.TEMPERATURE_TH) * scaleCoef;
        if (pwmVal > maxPwm)
        {
            pwmVal = maxPwm;
        }
    }
    else
    {
        pwmVal = 0;
    }

    if (BIT_CHECK(pReg->CB.MAIN_CONTROL,
                  FAN_AUTO)) // Control board controlls fan speed depending of
                             // temperature
    {
        pReg->CB.FAN_PWM = (uint8_t)(pwmVal & 0xFF);
    }

    if (REG_CHANGED(CB.FAN_PWM))
    {
        reg = pRegPrev->CB.FAN_PWM;

        if (reg == 0xFF)
        {
            htim1.Instance->CCR2 = htim1.Init.Period - 1;
        }
        else
        {
            // htim1.Instance->CCR2 = (htim1.Init.Period-1)/255*(reg+1);
            htim1.Instance->CCR2 = reg * 7; // Scale to htim1.Init.Period = 2000; //2000 = 10kHz
        }
        htim1.Instance->EGR |= TIM_EGR_UG;
    }
}

void FanGet()
{
    uint32_t fanSpeed = 0;
    fanSpeed = HAL_TIM_ReadCapturedValue(&htim1, TIM_CHANNEL_1);
    fanSpeed = HAL_TIM_ReadCapturedValue(&htim1, TIM_CHANNEL_2);
    fanSpeed = HAL_TIM_ReadCapturedValue(&htim1, TIM_CHANNEL_3);
    fanSpeed = HAL_TIM_ReadCapturedValue(&htim1, TIM_CHANNEL_4);

    pReg->CB.FAN_ALARM_FLAG = 0; // TODO need debug
}

void captureStart(void)
{
    HAL_NVIC_EnableIRQ(EXTI15_10_IRQn);
    HAL_NVIC_EnableIRQ(EXTI9_5_IRQn);

    for (int i = 0; i < 4; i++)
    {
        memset(&IC_ch[i], 0, sizeof(CAPTURE_CHANNELS_t));
    }
}

void captureInput(uint8_t in)
{
    if (IC_ch[in].Cnt < UINT16_MAX)
    {
        IC_ch[in].Cnt++;
    }

    if (IC_ch[in].State_f == IDLE_CAPTURE)
    {
        IC_ch[in].CCValPrev = 0;
        IC_ch[in].CCVal = htim1.Instance->CNT;
        IC_ch[in].State_f = FIRST_CAPTURE;
    }
    else if (IC_ch[in].State_f == FIRST_CAPTURE)
    {
        IC_ch[in].CCValPrev = IC_ch[in].CCVal;
        IC_ch[in].CCVal = htim1.Instance->CNT;
        IC_ch[in].State_f = SECOND_CAPTURE;
    }
}

uint32_t uint32_time_diff(uint32_t now, uint32_t before)
{
    return (now >= before) ? (now - before) : (UINT32_MAX - before + now);
}

void calculatePeriod(uint8_t in)
{
    if (IC_ch[in].State_f == SECOND_CAPTURE)
    {
        IC_ch[in].Period = uint32_time_diff(IC_ch[in].CCVal, IC_ch[in].CCValPrev);
        IC_ch[in].CCValPrev = 0;
        IC_ch[in].CCVal = 0;
        IC_ch[in].State_f = IDLE_CAPTURE;
    }
}

void captureStop(void)
{
    HAL_NVIC_DisableIRQ(EXTI15_10_IRQn);
    HAL_NVIC_DisableIRQ(EXTI9_5_IRQn);
}

void fanControl(void)
{
    FanSet(); // Update val

    captureStart();
    CreateTimer(&captureWait, 0, 100, 0, ACTIVE, CaptureRdy_Hndl);
}

void CaptureRdy_Hndl(void)
{
    captureStop();
    for (int i = 0; i < 4; i++)
    {
        calculatePeriod(i);
        if (IC_ch[i].State_f == IDLE_CAPTURE)
        {
            if (IC_ch[i].Period < fanThPeriod)
            {
                BIT_SET(pReg->CB.FAN_ALARM_FLAG, i);
            }
            else
            {
                BIT_CLEAR(pReg->CB.FAN_ALARM_FLAG, i);
            }
        }
        else
        {
            memset(&IC_ch[i], 0, sizeof(CAPTURE_CHANNELS_t));
            BIT_SET(pReg->CB.FAN_ALARM_FLAG, i);
        }
    }
}

void Btn_Hndl(void)
{
    if (REG_CHANGED(CB.POW_OFF_FLAG))
    {
        if (BIT_CHECK(pReg->CB.POW_OFF_FLAG, BTN_PRESSED)) // Pressed
        {
            // To prevent 2-nd start on POW_OFF bit set by PowerOffDelay_Hndl
            if (BIT_CHECK(pReg->CB.POW_OFF_FLAG, POW_OFF) == 0)
            {
                // Start off timer
                CreateTimer(&PowerOffDelay_Tim, 0, pressTimeToOff, 0, ACTIVE, PowerOffDelay_Hndl);
            }
        }
        else // Button was hold less than pressTimeToOff time - clear timer,cancel
             // off procedure
        {
            if (GetTimerState(&PowerOffDelay_Tim) != DONE)
            {
                // RESET timer on release btn
                CreateTimer(&PowerOffDelay_Tim, 1, pressTimeToOff, 0, DONE, PowerOffDelay_Hndl);
                BIT_CLEAR(pReg->CB.POW_OFF_FLAG, POW_OFF);
                off_request = 0;
            }
        }
    }
}

void HAL_GPIO_EXTI_Callback(uint16_t GPIO_Pin)
{
    if (GPIO_Pin == GPIO_PIN_2) //
    {
        if (HAL_GPIO_ReadPin(Button_pin) == 1) // Pressed
        {
            BIT_SET(pReg->CB.POW_OFF_FLAG, BTN_PRESSED);
        }
        else
        {
            BIT_CLEAR(pReg->CB.POW_OFF_FLAG, BTN_PRESSED);
        }
    }

    // Input capture
    switch (GPIO_Pin)
    {
    case GPIO_PIN_8:
    {
        captureInput(0);
    }
    break;
    case GPIO_PIN_9:
    {
        captureInput(1);
    }
    break;
    case GPIO_PIN_10:
    {
        captureInput(2);
    }
    break;
    case GPIO_PIN_11:
    {
        captureInput(3);
    }
    break;
    default:
        break;
    }
    //__NOP();
}

void HAL_TIM_PWM_PulseFinishedCallback(TIM_HandleTypeDef *htim)
{
    if (htim->Instance == htim4.Instance)
    {
        // supply_off
        //		i2c1_ram[101]= 1;
        //		off_request=1;
    }
}

/* USER CODE END 4 */

void Error_Handler(void)
{
}

#ifdef  USE_FULL_ASSERT
/**
  * @brief  Reports the name of the source file and the source line number
  *         where the assert_param error has occurred.
  * @param  file: pointer to the source file name
  * @param  line: assert_param error line source number
  * @retval None
  */
void assert_failed(uint8_t *file, uint32_t line)
{
  /* USER CODE BEGIN 6 */
    /* User can add his own implementation to report the file name and line
       number, tex: printf("Wrong parameters value: file %s on line %d\r\n", file,
       line) */
  /* USER CODE END 6 */
}
#endif /* USE_FULL_ASSERT */

/************************ (C) COPYRIGHT STMicroelectronics *****END OF FILE****/
